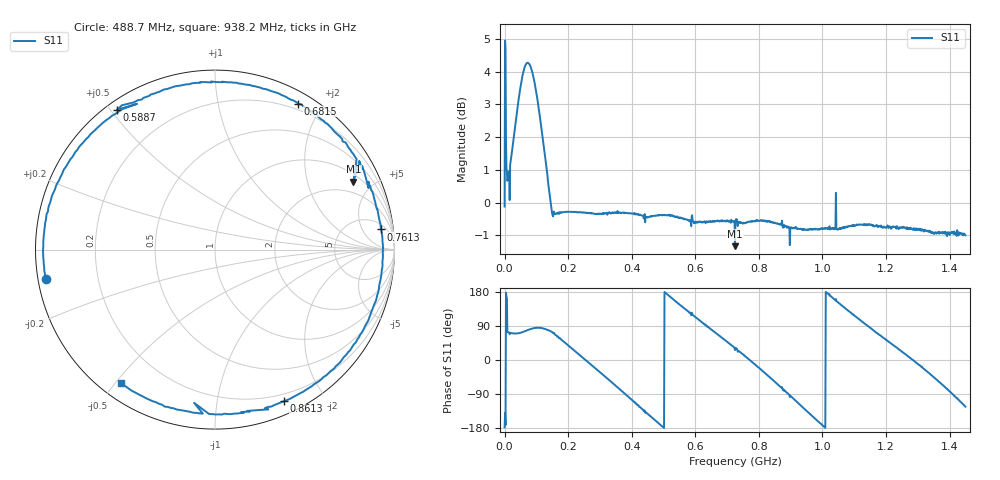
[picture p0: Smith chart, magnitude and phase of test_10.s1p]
! Created with skrf 1.11.0 (http://scikit-rf.org).
# Hz S RI R 50.0
!freq ReS11 ImS11
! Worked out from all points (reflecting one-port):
!   1001 points, 50 kHz to 1.45 GHz, reference 50 ohm
!   lowest |S11| = -1.3 dB at 725 MHz (marker M1), VSWR 13.13, Z = 67.2 + j193 ohm
!   phase of S11 starts at -178 deg and turns -1025 deg over the sweep
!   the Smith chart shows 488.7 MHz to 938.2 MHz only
!   S11 on the Smith chart (normalised r, x): 488.7 MHz: 0.02, -0.09; 588.7 MHz: 0.03, +0.52; 681.5 MHz: 0.13, +1.71; 761.3 MHz: 7, +12; 861.3 MHz: 0.13, -1.54; 938.2 MHz: 0.06, -0.52
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50000  -0.9857 -0.0384
1.599945e7  0.3786 0.9357
6.819765e7  0.355 1.589
1.16046e8  0.1289 1.291
1.812938e8  0.5981 0.759
2.262422e8  0.9072 0.3348
2.682908e8  0.9512 -0.1574
3.146892e8  0.7074 -0.653
3.625375e8  0.2112 -0.9413
4.147357e8  -0.4044 -0.8729
4.886832e8  -0.9434 -0.1643
5.437812e8  -0.8304 0.4615
5.887297e8  -0.5462 0.7789
6.351281e8  -0.0212 0.9365
6.815265e8  0.4642 0.8135
7.25025e8  0.7706 0.3783
7.612738e8  0.9254 0.1123
8.091221e8  0.8367 -0.4248
8.613203e8  0.3825 -0.8456
9.062688e8  -0.158 -0.9002
9.381676e8  -0.5222 -0.7439
1.009215e9  -0.9123 -0.0162
1.087512e9  -0.5411 0.7452
1.17161e9  0.2984 0.8707
1.268756e9  0.898 0.1606
1.320954e9  0.8277 -0.37
1.376053e9  0.3948 -0.8111
1.45e9  -0.4885 -0.7462
